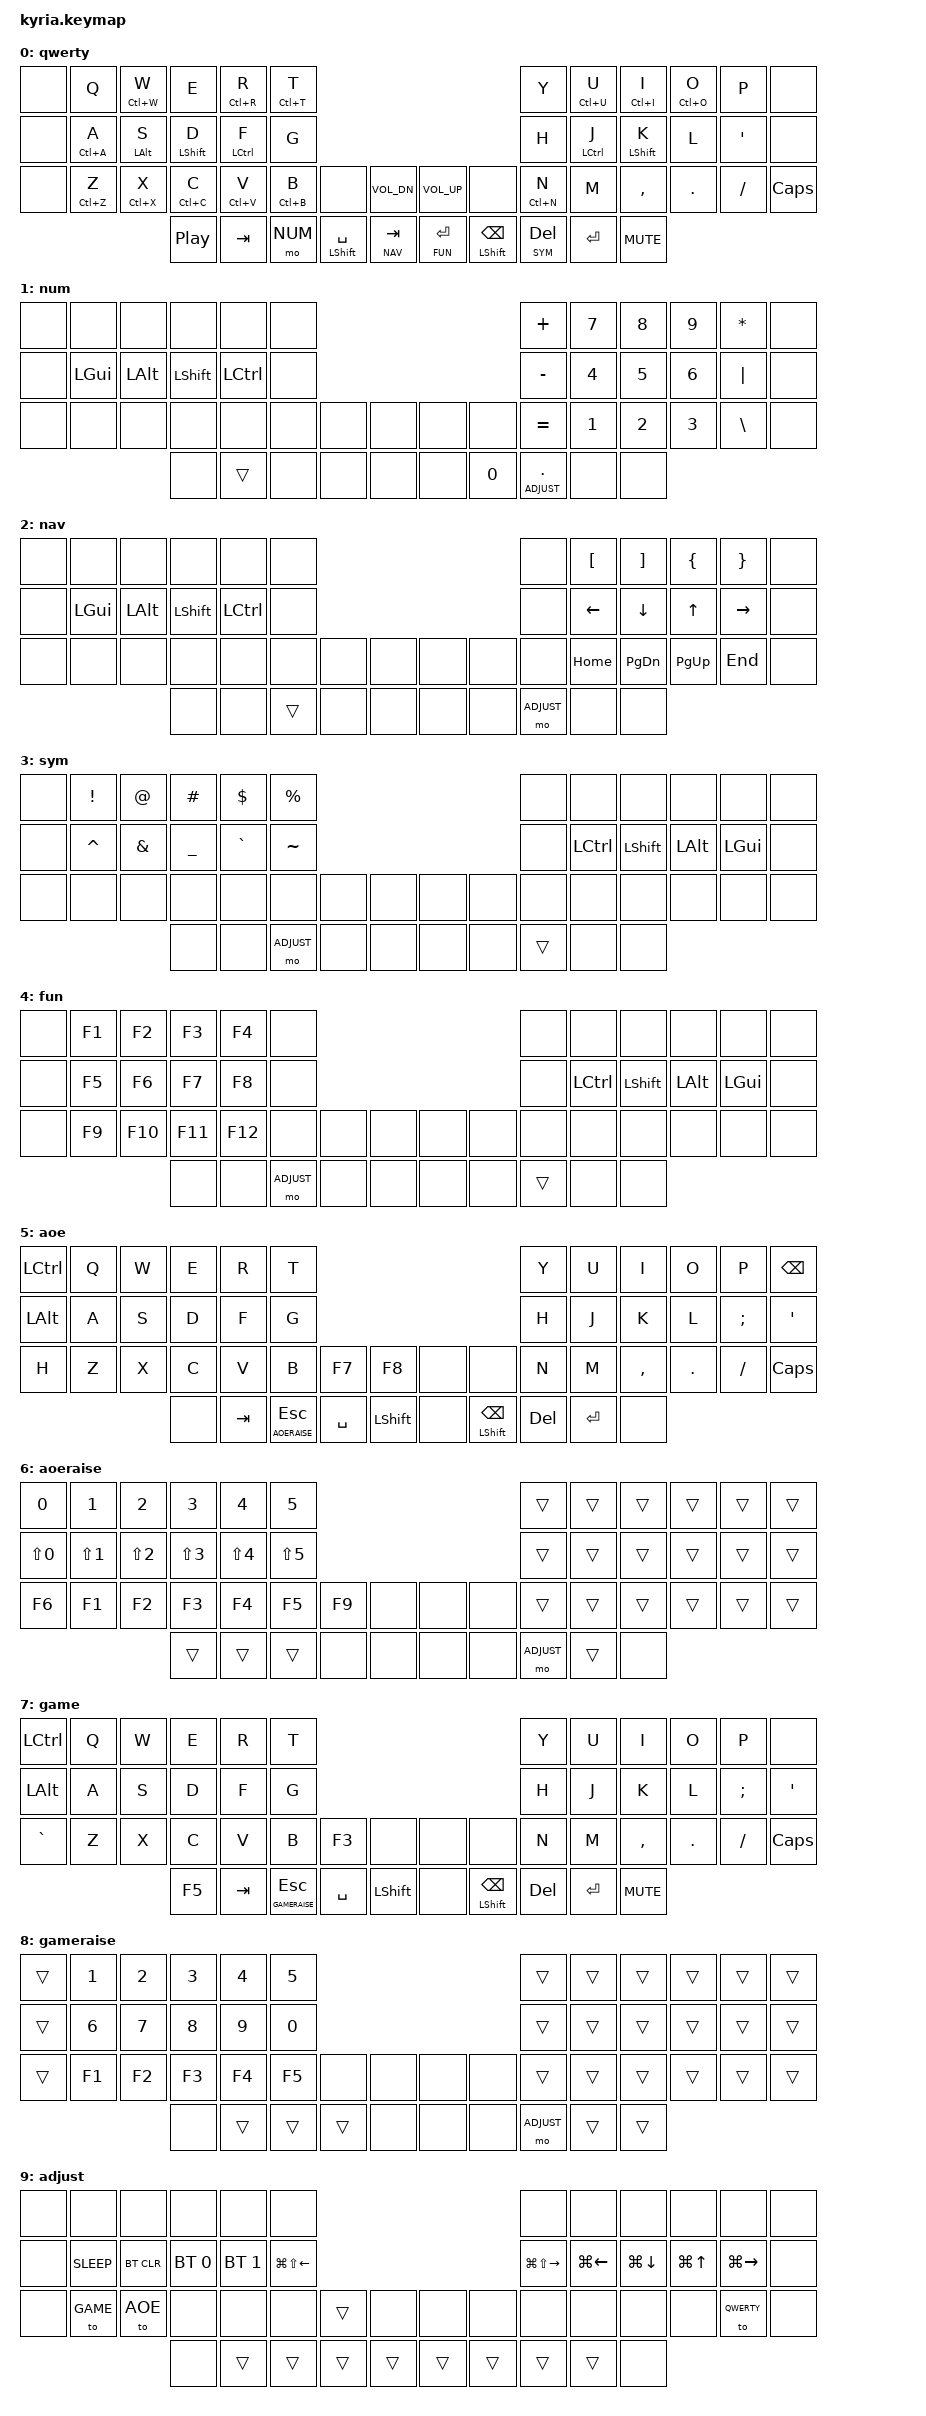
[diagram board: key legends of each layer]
/*
 * Copyright (c) 2020 The ZMK Contributors
 *
 * SPDX-License-Identifier: MIT
 */

#include <behaviors.dtsi>
#include <dt-bindings/zmk/keys.h>
#include <dt-bindings/zmk/bt.h>

//Layer definitions
#define QWERTY 0
#define NUM 1
#define NAV 2
#define SYM 3
#define FUN 4
#define AOE 5
#define AOERAISE 6
#define GAME 7
#define GAMERAISE 8
#define ADJUST 9


/ {
	behaviors {
        mt_s: ctrl_shift {
            compatible = "zmk,behavior-hold-tap";
            label = "MODTAP_SHORT";
            #binding-cells = <2>;
            tapping-term-ms = <150>;
            quick_tap_ms = <0>;
            flavor = "balanced";
            bindings = <&kp>, <&kp>;
        };
        mt_l: alt_gui {
            compatible = "zmk,behavior-hold-tap";
            label = "MODTAP_LONG";
            #binding-cells = <2>;
            tapping-term-ms = <300>;
            quick_tap_ms = <0>;
            flavor = "tap-preferred";
            bindings = <&kp>, <&kp>;
        };
	};
  	combos {
        compatible = "zmk,combos";
        combo_esc {
            timeout-ms = <50>;
            key-positions = <1 2>;
            bindings = <&kp ESC>;
            layers = <QWERTY>;
        };
		combo_semi {
            timeout-ms = <50>;
            key-positions = <21 22>;
            bindings = <&kp SEMI>;
            layers = <QWERTY>;
		};
		combo_gui_l {
            timeout-ms = <50>;
            key-positions = <13 14>;
            bindings = <&kp LGUI>;
            layers = <QWERTY NUM NAV SYM FUN>;
        };
		combo_prsc {
            timeout-ms = <50>;
            key-positions = <29 34>;
            bindings = <&kp PSCRN>;
            layers = <QWERTY NUM NAV SYM FUN>;
        };
		combo_lpar {
            timeout-ms = <50>;
            key-positions = <27 28>;
            bindings = <&kp LPAR>;
            layers = <QWERTY NUM NAV SYM FUN>;
        };
        combo_rpar {
            timeout-ms = <50>;
            key-positions = <35 36>;
            bindings = <&kp RPAR>;
            layers = <QWERTY NUM NAV SYM FUN>;
        };
		combo_lbkt {
            timeout-ms = <50>;
            key-positions = <26 27>;
            bindings = <&kp LBKT>;
            layers = <QWERTY NUM NAV SYM FUN>;
        };
        combo_rbkt {
            timeout-ms = <50>;
            key-positions = <36 37>;
            bindings = <&kp RBKT>;
            layers = <QWERTY NUM NAV SYM FUN>;
        };
		combo_lbrc {
            timeout-ms = <50>;
            key-positions = <25 26>;
            bindings = <&kp LBRC>;
            layers = <QWERTY NUM NAV SYM FUN>;
        };
        combo_rbrc {
            timeout-ms = <50>;
            key-positions = <37 38>;
            bindings = <&kp RBRC>;
            layers = <QWERTY NUM NAV SYM FUN>;
        };
    };

	keymap {
		compatible = "zmk,keymap";

		qwerty {
	// GASC home row mods. Layer key mods. Mod tap for zxcv. Mod tap for backspace/shift
	// ----------------------------------------------  ------------------------------------------------
	// |    |  Q  |  W  |  E  |  R  |  T  |                      |  Y  |  U  |  I  |  O  |  P  |      |
	// |    |  A  |  S  |  D  |  F  |  G  |                      |  H  |  J  |  K  |  L  |  ;  |  '   |
	// |    |  Z  |  X  |  C  |  V  |  B  |    | VDN|  | VUP| OUT|  N  |  M  |  ,  |  .  |  /  | CAPS |
	//                  |  PP | TAB | NUM | SPC| NAV|  | FUN| SFT| SYM | ENT | MUTE|
	//                              |     |    |    |  |    | BSP| DEL |

        bindings = <
    &none   &kp Q         	&mt_l LC(W) W   &kp E       	&mt_l LC(R) R   	&mt_l LC(T) T                     	  		        /**/                                    	&kp Y       	&mt_l LC(U) U	&mt_l LC(I) I 	&mt_l LC(O) O	&kp P       &none
    &none   &mt_l LC(A) A   &mt_l LALT S   	&mt_l LSHFT D	&mt_s LCTRL F		&kp G                       	            	    /**/                                    	&kp H       	&mt_s LCTRL J	&mt_l LSHFT K	&kp L      		&kp SQT    	&none
    &none   &mt_l LC(Z) Z   &mt_l LC(X) X   &mt_l LC(C) C 	&mt_l LC(V) V   	&mt_l LC(B) B	&none               &kp C_VOL_DN  	/**/	&kp C_VOL_UP    &none		        &mt_l LC(N) N 	&kp M  			&kp COMMA   	&kp DOT     	&kp FSLH    &kp CAPS
                                    	    &kp C_PP        &kp TAB             &mo NUM		    &mt_s LSHFT SPACE	&lt NAV TAB 	/**/    &lt FUN ENTER   &mt_s LSHFT BSPC  	&lt SYM DEL	    &kp ENTER       &kp C_MUTE
                        >;
        };
		num {
	// ----------------------------------------------------  --------------------------------------------------------
	// |       |     |     |      |      |      |                      |  +   |  7    |  8    |  9   |   *   |      |
	// |       |     |     |      |      |      |                      |  =   |  4    |  5    |  6   |   |   |      |
	// |       |     |     |      |      |      |    |    |  |    |    |  -   |  1    |  2    |  3   |   \   |      |
	//                     |      |      |      |    |    |  |  - |  0 | ADJ/.|       |       |

        bindings = <
    &none   &none   	&none   	&none       &none       &none                   /**/                    &kp PLUS       	&kp N7  &kp N8  &kp N9  &kp STAR    &none
    &none   &kp LGUI	&kp LALT   	&kp LSHFT   &kp LCTRL   &none                   /**/                    &kp MINUS       &kp N4  &kp N5  &kp N6  &kp PIPE    &none
    &none   &none   	&none   	&none       &none       &none   &none   &none   /**/    &none   &none   &kp EQUAL      	&kp N1  &kp N2  &kp N3  &kp BSLH    &none
                            		&none       &trans      &none   &none   &none   /**/    &none	&kp N0  &lt ADJUST DOT  &none   &none
                        >;
        };
		nav {
	// ----------------------------------------------------  --------------------------------------------------------
	// |       |     |     |      |      |      |                      |      |   [   |   ]   |  {   |   }   |      |
	// |       |     |     |      |      |      |                      |      |  LEFT |  DOWN |  UP  | RIGHT |      |
	// |       |     |     |      |      |      |    |    |  |    |    |      |  HOME |  PGDN | PGUP |  END  |      |
	//                     |      |      |      |    |    |  |    |    | ADJ  |       |       |      |

        bindings = <
    &none   &none       &none       &none       &none       &none                   /**/                    &none       &kp LBKT    &kp RBKT    &kp LBRC    &kp RBRC    &none
    &none   &kp LGUI    &kp LALT    &kp LSHFT   &kp LCTRL   &none                   /**/                    &none       &kp LEFT    &kp DOWN    &kp UP      &kp RIGHT   &none
    &none   &none       &none       &none       &none       &none   &none   &none   /**/    &none    &none  &none       &kp HOME    &kp PG_DN   &kp PG_UP   &kp END     &none
                                    &none       &none       &trans  &none   &none   /**/    &none    &none	&mo ADJUST	&none       &none
                        >;
        };
        sym {
	// ----------------------------------------------------  --------------------------------------------------------
	// |       |  !  |  @  |  #   |  $   |  %   |                      |      |       |       |      |       |      |
	// |       |  ^  |  &  |  _   |  `   |  ~   |                      |      |       |       |      |       |      |
	// |       |     |     |      |      |      |    |    |  |    |    |      |       |       |      |       |      |
	//                     |      |      |      |    |    |  |    |    |      |       |       |

        bindings = <
    &none   &kp EXCL    &kp AT      &kp HASH    &kp DLLR    &kp PRCNT                   /**/                    &none   &none       &none       &none       &none       &none
    &none   &kp CARET   &kp AMPS    &kp UNDER   &kp GRAVE   &kp TILDE                   /**/                    &none   &kp LCTRL   &kp LSHFT   &kp LALT    &kp LGUI    &none
    &none   &none       &none       &none       &none       &none       &none    &none  /**/    &none    &none  &none   &none       &none       &none       &none       &none
                                    &none       &none       &mo ADJUST  &none    &none  /**/    &none    &none  &trans  &none       &none
                        >;
        };
        fun {
	// ----------------------------------------------------  --------------------------------------------------------
	// |       |  F1 |  F2 |  F3  |  F4  |      |                      |      |       |       |      |       |      |
	// |       |  F5 |  F6 |  F7  |  F8  |      |                      |      |       |       |      |       |      |
	// |       |  F9 |  F10|  F11 |  F12 |      |    |    |  |    |    |      |       |       |      |       |      |
	//                     |      |      |      |    |    |  |    |    |      |       |       |

        bindings = <
    &none   &kp F1  &kp F2  &kp F3  &kp F4  &none                       /**/                    &none   &none       &none       &none       &none       &none
    &none   &kp F5  &kp F6  &kp F7  &kp F8  &none                       /**/                    &none   &kp LCTRL   &kp LSHFT   &kp LALT    &kp LGUI    &none
    &none   &kp F9  &kp F10 &kp F11 &kp F12 &none       &none   &none   /**/    &none    &none  &none   &none       &none       &none       &none       &none
                            &none   &none   &mo ADJUST  &none   &none   /**/    &none    &none  &trans  &none       &none
                        >;
        };
		aoe {
	// -----------------------------------------------  -----------------------------------------------
	// | CTRL|  Q  |  W  |  E  |  R  |  T  |                      |  Y  |  U  |  I  |  O  |  P  | BSPC|
	// | ALT |  A  |  S  |  D  |  F  |  G  |                      |  H  |  J  |  K  |  L  |  ;  |  '  |
	// |  H  |  Z  |  X  |  C  |  V  |  B  | F7 | F8 |  |    |    |  N  |  M  |  ,  |  .  |  /  | CAPS|
	//                   |     | TAB | ESC | SPC| SFT|  |    |    |LSHFT| XXX |ENTER|

        bindings = <
    &kp LCTRL   &kp Q   &kp W   &kp E   &kp R   &kp T                                       /**/                            &kp Y   &kp U       &kp I       &kp O   &kp P       &kp BSPC
    &kp LALT    &kp A   &kp S   &kp D   &kp F   &kp G                                       /**/                            &kp H   &kp J       &kp K       &kp L   &kp SEMI    &kp SQT
    &kp H       &kp Z   &kp X   &kp C   &kp V   &kp B               &kp F7      &kp F8      /**/    &none   &none           &kp N   &kp M       &kp COMMA   &kp DOT &kp FSLH    &kp CAPS
                                &none   &kp TAB &lt AOERAISE ESC    &kp SPACE   &kp LSHFT   /**/    &none   &mt_s LSHFT BSPC  &kp DEL &kp ENTER   &none
                    >;
        };
        aoeraise {
	// -----------------------------------------------  -----------------------------------------------
	// |  0  |  1  |  2  |  3  |  4  |  5  |                      |     |     |     |     |     |     |
	// |LS(0)|LS(1)|LS(2)|LS(3)|LS(4)|LS(5)|                      |     |     |     |     |     |     |
	// | F6  |  F1 |  F2 |  F3 |  F4 |  F5 | F9 |    |  |    |    |     |     |     |     |     |     |
	//                   |     |     |     |    |    |  |    |    |     | ADJ |     |

        bindings = <
    &kp N0      &kp N1      &kp N2      &kp N3      &kp N4      &kp N5                      /**/                    &trans      &trans  &trans  &trans  &trans  &trans
    &kp LS(N0)  &kp LS(N1)  &kp LS(N2)  &kp LS(N3)  &kp LS(N4)  &kp LS(N5)                  /**/                    &trans      &trans  &trans  &trans  &trans  &trans
    &kp F6      &kp F1      &kp F2      &kp F3      &kp F4      &kp F5      &kp F9  &none   /**/    &none   &none   &trans      &trans  &trans  &trans  &trans  &trans
                                        &trans      &trans      &trans      &none   &none   /**/    &none   &none   &mo ADJUST  &trans  &none
                    >;
        };
        game {
	// -----------------------------------------------  -----------------------------------------------
	// | CTRL|  Q  |  W  |  E  |  R  |  T  |                      |  Y  |  U  |  I  |  O  |  P  | BSPC|
	// | ALT |  A  |  S  |  D  |  F  |  G  |                      |  H  |  J  |  K  |  L  |  ;  |  '  |
	// |  `  |  Z  |  X  |  C  |  V  |  B  |    |    |  |    |    |  N  |  M  |  ,  |  .  |  /  | CAPS|
	//                   |SHIFT| MNRS|SPACE|    |    |  |    |    |LSHFT| XXX |ENTER|

        bindings = <
    &kp LCTRL   &kp Q   &kp W   &kp E       &kp R   &kp T                                       /**/                            &kp Y   &kp U       &kp I       &kp O       &kp P       &none
    &kp LALT    &kp A   &kp S   &kp D       &kp F   &kp G                                       /**/                            &kp H   &kp J       &kp K       &kp L       &kp SEMI    &kp SQT
    &kp GRAVE	&kp Z   &kp X   &kp C       &kp V   &kp B               &kp F3      &none       /**/    &none    &none          &kp N   &kp M       &kp COMMA   &kp DOT     &kp FSLH    &kp CAPS
                        		&kp F5      &kp TAB &lt GAMERAISE ESC   &kp SPACE   &kp LSHFT   /**/    &none    &mt_s LSHFT BSPC &kp DEL &kp ENTER   &kp C_MUTE
                    >;
        };
        gameraise {
	// -----------------------------------------------  -----------------------------------------------
	// |     |  1  |  2  |  3  |  4  |  5  |                      |     |     |     |     |     |     |
	// |     |  6  |  7  |  8  |  9  |  0  |                      |     |     |     |     |     |     |
	// |     |  F1 |  F2 |  F3 |  F4 |  F5 |    |    |  |    |    |     |     |     |     |     |     |
	//                   |     |     |     |    |    |  |    |    |     | ADJ |     |

        bindings = <
    &trans  &kp N1  &kp N2  &kp N3  &kp N4  &kp N5                  /**/                    &trans      &trans  &trans  &trans  &trans  &trans
    &trans  &kp N6  &kp N7  &kp N8  &kp N9  &kp N0                  /**/                    &trans      &trans  &trans  &trans  &trans  &trans
    &trans  &kp F1  &kp F2  &kp F3  &kp F4  &kp F5  &none   &none   /**/    &none    &none  &trans      &trans  &trans  &trans  &trans  &trans
                            &none   &trans  &trans  &trans  &none   /**/    &none    &none  &mo ADJUST  &trans  &trans
                    >;
        };
        adjust {
	// -----------------------------------------------  -----------------------------------------------
	// |RESET|     |     |     |     |     |                      |     |     |     |     |     |     |
	// |     |     |BTCLR| BT1 | BT2 |SG(L)|                      |SG(R)|LG(L)|LG(D)|LG(U)|LG(R)|     |
	// |PSCRN|     |     |     | AOE | MINE|    |    |  |    |    |COLEM|QWERT|     |     |     |     |
	//                   |     |     |     |    |    |  |    |    |     |     |     |

        bindings = <
    &none 		&none   	&none       &none           &none           &none                                   /**/                        &none               &none           &none           &none       &none           &none
    &none 		&kp K_SLEEP &bt BT_CLR  &bt BT_SEL 0    &bt BT_SEL 1    &kp LG(LS(LEFT))                        /**/						&kp LG(LS(RIGHT))   &kp LG(LEFT)    &kp LG(DOWN)    &kp LG(UP)  &kp LG(RIGHT)   &none
    &none       &to GAME   	&to AOE     &none           &none         	&none            	&trans    &none     /**/    &none   &none  		&none               &none           &none           &none       &to QWERTY      &none
                                    	&none           &trans          &trans              &trans    &trans    /**/    &trans  &trans      &trans              &trans          &none
            >;
        };
	};
};
